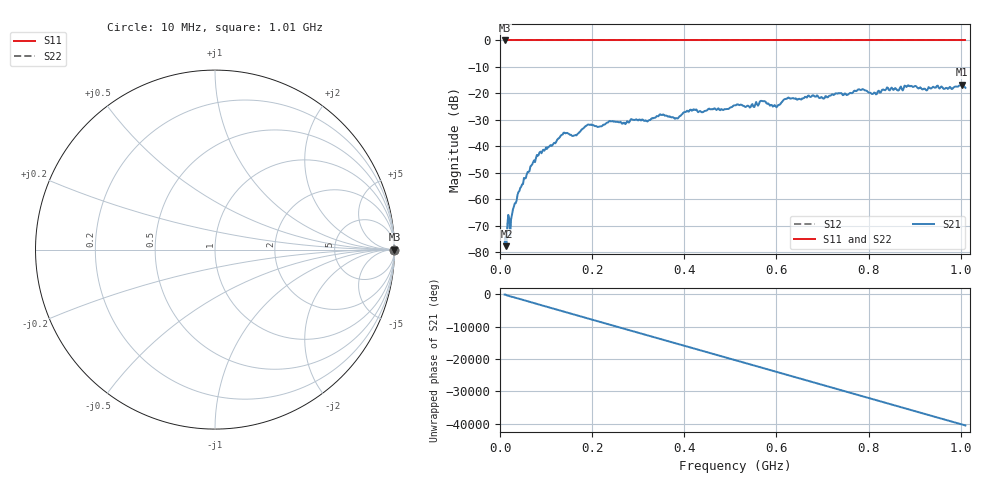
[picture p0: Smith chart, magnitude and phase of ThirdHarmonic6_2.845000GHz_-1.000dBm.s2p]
! 8/17/2025 7:40:05 AM
! C:\ANRITSUVNA\TEMP\TEMP.S2P
! CHANNEL.1
! TR.MEASUREMENT
! RAW.DATA
! RF.CORRECTION.OFF
! AVERAGING.OFF
! IF.BANDWIDTH: 5KHZ
! SWEEPTYPE:  FREQ.SWEEP(Linear)
! Reference Plane Port Info
! PORT:  PORT1  PORT2
! DISTANCE:  0  m  0  m
! TIME:  0  s  0  s
! PHASE.OFFSET:  0  deg.  0  deg.
! LOSS:  0  dB  0  dB
! REF.LOSS:  0  dB  0  dB
! REF.FREQ:  0  Hz  0  Hz
! Power Info
! POWER:  -20  dBm  -20  dBm
! EFF.POWER:  -20  dBm  -20  dBm
! SOURCE.ATTEN:  0  dB  0  dB
! TEST.ATTEN:  0  dB  0  dB
# GHZ S RI R 50.0
! FREQ.GHZ  S11RE  S11IM  S21RE  S21IM  S12RE  S12IM  S22RE  S22IM
!; PortSelection: Port_12
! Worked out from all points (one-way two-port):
!   501 points, 10 MHz to 1.01 GHz, reference 50 ohm
!   highest |S21| = -16.71 dB at 1.002 GHz (marker M1); lowest = -77.7 dB at 14 MHz (marker M2)
!   lowest |S11| = 0.0 dB at 10 MHz (marker M3)
!   |S11| at or under -10 dB: nowhere
!   |S22| runs from 0.0 to 0.0 dB; largest |S21 - S12| = 1.1
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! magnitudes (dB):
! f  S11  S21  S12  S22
! 10 MHz  0.0  -76.4  0.0  0.0
! 14 MHz  0.0  -77.7  0.0  0.0
! 42 MHz  0.0  -56.8  0.0  0.0
! 84 MHz  0.0  -43.2  0.0  0.0
! 136 MHz  0.0  -35.5  0.0  0.0
! 162 MHz  0.0  -35.9  0.0  0.0
! 178 MHz  0.0  -33.5  0.0  0.0
! 194 MHz  0.0  -31.8  0.0  0.0
! 322 MHz  0.0  -30.2  0.0  0.0
! 344 MHz  0.0  -28.6  0.0  0.0
! 382 MHz  0.0  -29.3  0.0  0.0
! 416 MHz  0.0  -26.5  0.0  0.0
! 510 MHz  0.0  -24.5  0.0  0.0
! 570 MHz  0.0  -22.9  0.0  0.0
! 598 MHz  0.0  -24.8  0.0  0.0
! 622 MHz  0.0  -22.1  0.0  0.0
! 678 MHz  0.0  -20.7  0.0  0.0
! 782 MHz  0.0  -18.7  0.0  0.0
! 814 MHz  0.0  -19.8  0.0  0.0
! 844 MHz  0.0  -18.7  0.0  0.0
! 1.002 GHz  0.0  -16.7  0.0  0.0
! 1.01 GHz  0.0  -17.9  0.0  0.0
